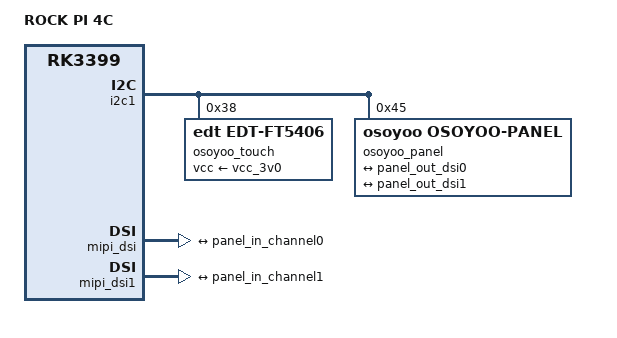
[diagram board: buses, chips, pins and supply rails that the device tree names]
/dts-v1/;
/plugin/;

#include <dt-bindings/clock/rk3399-cru.h>
#include <dt-bindings/gpio/gpio.h>

/ {
	model = "ROCK PI 4C";
	compatible = "rockchip,rockpi","rockchip,rk3399";

	/* --------------------------------------------------
	 * OSOYOO display using the Focal FT5406 capacitive
	 * touch controller, the Toshiba TC358762 DSI to DPI
	 * bridge and a I2C panel controller. The capacitive
	 * touch controller is at I2C address 0x38. The panel
	 * controller is at I2C address 0x45.
	 * Both controller connected to i2c1 port
	 * -------------------------------------------------- */

	fragment@0 {
		target = <&i2c1>;

		__overlay__ {
		    #address-cells = <1>;
			#size-cells = <0>;

			osoyoo_touch@38 {
			    compatible ="edt,edt-ft5406";
			    #address-cells = <1>;
				#size-cells = <0>;
			    vcc-supply = <&vcc_3v0>;
			    reg = <0x38>;
				status = "okay";
			};

			osoyoo_panel@45 {
				compatible = "osoyoo,osoyoo-panel";
			    #address-cells = <1>;
				#size-cells = <0>;
				reg = <0x45>;
				status = "okay";
				panel,bpc = <8>;
				panel,pwm = <0xff>;
				panel,width = <217>;
				panel,height = <136>;
				panel,timing = <1>;
				dsi,init = <4>;
				/*dsi,mode_flags = <0x805>;*/
				dsi,format = <0>;
				dsi,lanes = <1>;

				display-timings {
					native-mode = <&timing1>;
					timing1: dt-1 {
						clock-frequency = <40000000>;
						hactive      = <800>;
						hfront-porch = <40>;
						hsync-len    = <128>;
						hback-porch  = <88>;
						vactive      = <600>;
						vfront-porch = <1>;
						vsync-len    = <4>;
						vback-porch  = <23>;
						hsync-active = <0>;
                        vsync-active = <1>;
					};
					timing2: dt-2 {
						clock-frequency = <65000000>;
						hactive      = <1024>;
						hfront-porch = <24>;
						hsync-len    = <136>;
						hback-porch  = <160>;
						vactive      = <768>;
						vfront-porch = <3>;
						vsync-len    = <6>;
						vback-porch  = <29>;
						hsync-active = <0>;
                       	vsync-active = <0>;
					};
				};

				port {
					dsi,master = <&panel_in_channel0>;
					panel_in_channel0: endpoint@0 {
						remote-endpoint = <&panel_out_dsi0>;
					};
					panel_in_channel1: endpoint@1 {
						remote-endpoint = <&panel_out_dsi1>;
					};
				};
			};
		};
	};

	/* --------------------------------------------------
	 * Enable MIPI DSI (entry must be enabled for dual channel)
	 * -------------------------------------------------- */
	fragment@1 {
		target = <&mipi_dsi>;

		__overlay__ {
            #address-cells = <1>;
           	#size-cells = <0>;
			clock-master;
			status = "okay";

			ports {
			    #address-cells = <1>;
			    #size-cells = <0>;

				mipi_out: port@1 {
                    reg = <1>;

					panel_out_dsi0: endpoint {
						remote-endpoint = <&panel_in_channel0>;
					};
				};
			};
		};
	};

	fragment@2 {
		target = <&mipi_dsi1>;

		__overlay__ {
       		#address-cells = <1>;
       		#size-cells = <0>;
			status = "okay";

			ports {
			    #address-cells = <1>;
			    #size-cells = <0>;

				mipi1_out: port@1 {
                    reg = <1>;

					panel_out_dsi1: endpoint {
						remote-endpoint = <&panel_in_channel1>;
					};
				};
			};
		};
	};

	/* --------------------------------------------------
	 * Disable HDMI
	 * -------------------------------------------------- */

	fragment@3 {
		target = <&hdmi>;
		__overlay__ {
			status = "disabled";
		};
	};

	/* --------------------------------------------------
	 * Disable eDP
	 * -------------------------------------------------- */

	fragment@4 {
		target = <&edp>;
		__overlay__ {
			status = "disabled";
		};
	};
};
